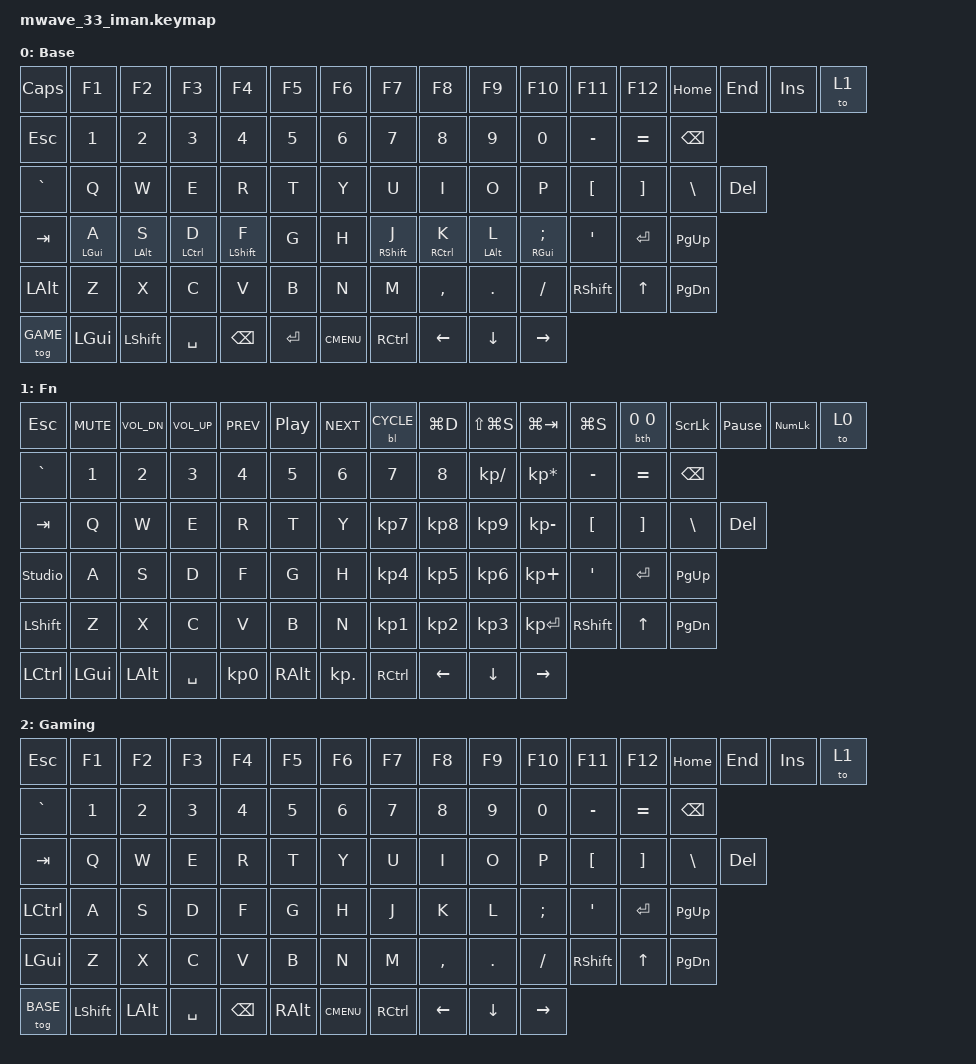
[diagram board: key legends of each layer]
#include <behaviors.dtsi>
#include <dt-bindings/zmk/backlight.h>
#include <dt-bindings/zmk/bt.h>
#include <dt-bindings/zmk/keys.h>
#include <dt-bindings/zmk/pointing.h>
#include <dt-bindings/zmk/outputs.h>
#include <dt-bindings/advertising_mode.h>
#include <behaviors/advertising_mode.dtsi>
#include <behaviors/stp_indicators.dtsi>
#include "studio-macros.dtsi"

#define GAME 1

/ {
    #include "mwave_prim.dtsi"

    keymap {
        compatible = "zmk,keymap";

        default_layer {
            display-name = "Base";

            // ┌────────────────────────────────────────────────────────────────────────────────────────────────────┐
            // │ CAPS | F1  | F2  | F3  | F4  | F5  | F6  || F7  | F8  | F9  | F10 | F11 | F12 | HOME | END |INS|TO1│
            // │GRAVE |  1  |  2  |  3  |  4  |  5  |  6  ||  7   |  8  |  9  |  0  |  -  |  =  |  BKSP        | DEL│
            // │ TAB   |  Q  |  W  |  E  |  R  |  T       ||  Y  |  U  |  I  |  O  |  P  |  [  |  ]  |  \      |    │
            // │ ESC    |hml A|hml S|hml D|hml F|  G      ||  H |hml J |hml K |hml L |hml ;|  '  |   ENTER     |PGUP│
            // │ ALT     |  Z  |  X  |  C  |  V  |  B     ||   N  |  M  |  ,  |  .  |  /  |   SHIFT      | UP  |PGDN│
            // │ CTRL    | WIN |SHIFT|      BKSP          ||      SPACE     | ALT | MENU | RCTRL | LEFT | DOWN|RIGHT│
            // └────────────────────────────────────────────────────────────────────────────────────────────────────┘

            bindings = <
&kp CLCK   &kp F1       &kp F2      &kp F3          &kp F4          &kp F5    &kp F6       &kp F7       &kp F8          &kp F9          &kp F10             &kp F11    &kp F12    &kp HOME   &kp END  &kp INSERT  &to 1
&kp ESC    &kp N1       &kp N2      &kp N3          &kp N4          &kp N5    &kp N6       &kp N7       &kp N8          &kp N9          &kp N0              &kp MINUS  &kp EQUAL  &kp BSPC
&kp GRAVE  &kp Q        &kp W       &kp E           &kp R           &kp T     &kp Y        &kp U        &kp I           &kp O           &kp P               &kp LBKT   &kp RBKT   &kp BSLH   &kp DEL
&kp TAB    &hml LGUI A  &hml LALT S &hml LCTRL D    &hml LSHFT F    &kp G     &kp H        &hmr RSHFT J &hmr RCTRL K    &hmr LALT L     &hmr RGUI SEMI      &kp SQT    &kp RET    &kp PG_UP
&kp LALT   &kp Z        &kp X       &kp C           &kp V           &kp B     &kp N        &kp M        &kp COMMA       &kp DOT         &kp FSLH            &kp RSHFT  &kp UP     &kp PG_DN
&tog GAME  &kp LGUI     &kp LSHFT   &kp SPACE       &kp BSPC        &kp RET   &kp K_CMENU   &kp RCTRL    &kp LEFT        &kp DOWN       &kp RIGHT
            >;
        };

        raise {
            display-name = "Fn";
            bindings = <
&kp ESCAPE      &kp C_MUTE  &kp C_VOL_DN  &kp C_VOL_UP  &kp C_PREV  &kp C_PP  &kp C_NEXT  &bl BL_CYCLE  &kp LG(D)  &kp LS(LG(S))  &kp LG(TAB)      &kp LG(S)        &bth 0 0  &kp SCROLLLOCK  &kp PAUSE_BREAK  &kp KP_NUMLOCK  &to 0
&kp GRAVE       &kp N1      &kp N2        &kp N3        &kp N4      &kp N5    &kp N6      &kp N7        &kp N8     &kp KP_DIVIDE  &kp KP_MULTIPLY  &kp MINUS        &kp EQUAL   &kp BACKSPACE
&kp TAB         &kp Q       &kp W         &kp E         &kp R       &kp T     &kp Y       &kp KP_N7     &kp KP_N8  &kp KP_N9      &kp KP_MINUS     &kp LBKT   &kp RBKT   &kp BSLH            &kp DELETE
&studio_unlock  &kp A       &kp S         &kp D         &kp F       &kp G     &kp H       &kp KP_N4     &kp KP_N5  &kp KP_N6      &kp KP_PLUS      &kp SQT            &kp ENTER   &kp PAGE_UP
&kp LEFT_SHIFT  &kp Z       &kp X         &kp C         &kp V       &kp B     &kp N       &kp KP_N1     &kp KP_N2  &kp KP_N3      &kp KP_ENTER     &kp RIGHT_SHIFT  &kp UP      &kp PAGE_DOWN
&kp LCTRL       &kp LGUI    &kp LALT      &kp SPACE     &kp KP_N0   &kp RALT     &kp KP_DOT  &kp RCTRL         &kp LEFT   &kp DOWN       &kp RIGHT
            >;
        };

        extra1 {
            display-name = "Gaming";

            // -------------------------------------------------------------------------------------------------------
            // | ESC | F1  | F2  | F3  | F4  | F5  | F6  | | F7  | F8  | F9  | F10 | F11 | F12 |HOME| END |PSCN|  1  |
            // |GRAVE|  1  |  2  |  3  |  4  |  5  |  6  | |   7   |  8  |  9  |  0  |  -  |  =  |    BKSP     | DEL |
            // | TAB    |  Q  |  W  |  E  |  R  |   T    | |   Y  |  U  |  I  |  O  |  P  |  [  |  ]  |   \    |     |
            // | CAPS     |  A  |  S  |  D  |  F  |  G   | |  H    |  J  |  K  |  L  |  ;  |  '  |    ENTER    | PGUP|
            // |   SHIFT   |  Z  |  X  |  C  |  V  |  B  | |    N    |  M  |  ,  |  .  |  /  |   SHIFT   | UP  | PGDN|
            // |  CTL  |  WIN  |  ALT  |      SPACE      | |      SPACE        | ALT | MENU |RCTRL| LEFT| DOWN |RIGHT|
            // -------------------------------------------------------------------------------------------------------

            bindings = <
&kp ESC    &kp F1    &kp F2    &kp F3     &kp F4     &kp F5    &kp F6       &kp F7     &kp F8     &kp F9    &kp F10    &kp F11    &kp F12    &kp HOME   &kp END  &kp INSERT  &to 1
&kp GRAVE  &kp N1    &kp N2    &kp N3     &kp N4     &kp N5    &kp N6       &kp N7     &kp N8     &kp N9    &kp N0     &kp MINUS  &kp EQUAL  &kp BSPC
&kp TAB    &kp Q     &kp W     &kp E      &kp R      &kp T     &kp Y        &kp U      &kp I      &kp O     &kp P      &kp LBKT   &kp RBKT   &kp BSLH   &kp DEL
&kp LCTRL  &kp A     &kp S     &kp D      &kp F      &kp G     &kp H        &kp J      &kp K      &kp L     &kp SEMI   &kp SQT    &kp RET    &kp PG_UP
&kp LGUI   &kp Z     &kp X     &kp C      &kp V      &kp B     &kp N        &kp M      &kp COMMA  &kp DOT   &kp FSLH   &kp RSHFT  &kp UP     &kp PG_DN
&tog BASE  &kp LSHFT  &kp LALT  &kp SPACE  &kp BSPC  &kp RALT  &kp K_CMENU  &kp RCTRL  &kp LEFT   &kp DOWN  &kp RIGHT
            >;
        };
        extra2 {
            display-name = "Green";
            status = "reserved";
        };

        extra3 {
            display-name = "Red";
            status = "reserved";
        };

        extra4 {
            display-name = "Purple";
            status = "reserved";
        };

        extra5 {
            display-name = "Cyan";
            status = "reserved";
        };

        extra6 {
            display-name = "Yellow";
            status = "reserved";
        };
    };
};
